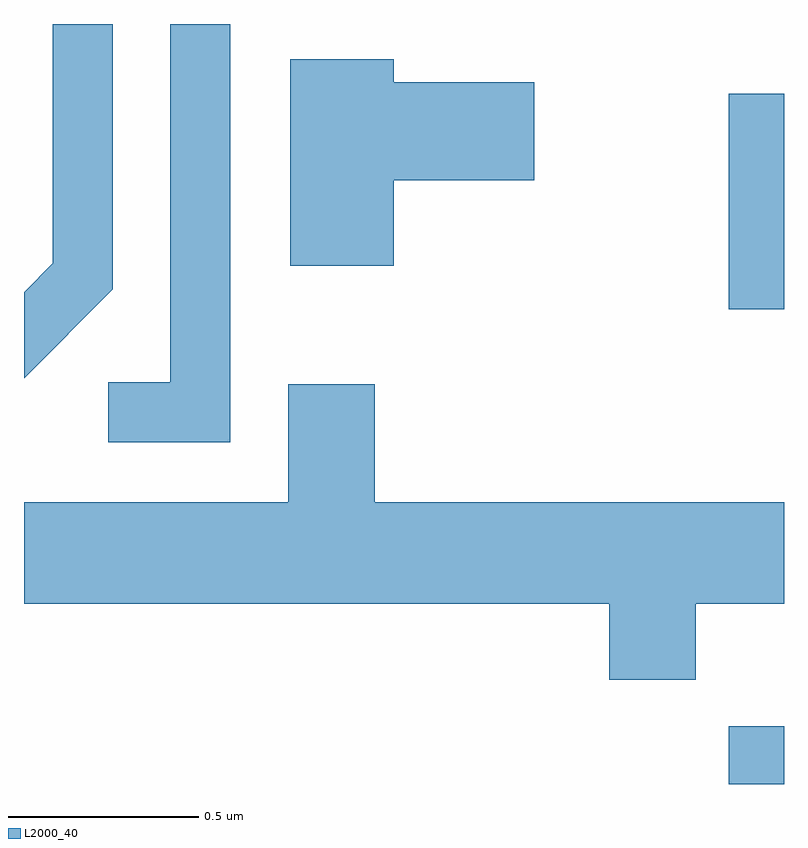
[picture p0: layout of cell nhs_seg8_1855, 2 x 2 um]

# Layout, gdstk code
import gdstk
lib = gdstk.Library(unit=1e-6, precision=1e-09)
def R(c, l, rs):  # rectangles x0, y0, x1, y1
    for r in rs: c.add(gdstk.rectangle(r[:2], r[2:], *l))
def P(c, l, *ps):  # polygons
    for p in ps: c.add(gdstk.Polygon(p, *l))
L2000_40 = (2000, 40)

nhs_seg8_1855 = lib.new_cell('nhs_seg8_1855')
R(nhs_seg8_1855, L2000_40, [(200.466,1880.342,200.611,1880.494), (200.466,1881.591,200.611,1882.159)])
P(nhs_seg8_1855, L2000_40, [(198.844,1881.644),(198.844,1882.342),(198.686,1882.342),(198.686,1881.712),(198.611,1881.636),(198.611,1881.41)],
  [(199.154,1882.342),(198.996,1882.342),(198.996,1881.399),(198.833,1881.399),(198.833,1881.241),(199.154,1881.241)],
  [(199.584,1881.931),(199.954,1881.931),(199.954,1882.189),(199.584,1882.189),(199.584,1882.249),(199.311,1882.249),(199.311,1881.706),(199.584,1881.706)],
  [(200.379,1880.816),(200.611,1880.816),(200.611,1881.084),(199.534,1881.084),(199.534,1881.394),(199.306,1881.394),(199.306,1881.084),(198.611,1881.084),(198.611,1880.816),(200.151,1880.816),(200.151,1880.616),(200.379,1880.616)])

lib.write_gds('nhs_seg8_1855.gds')
